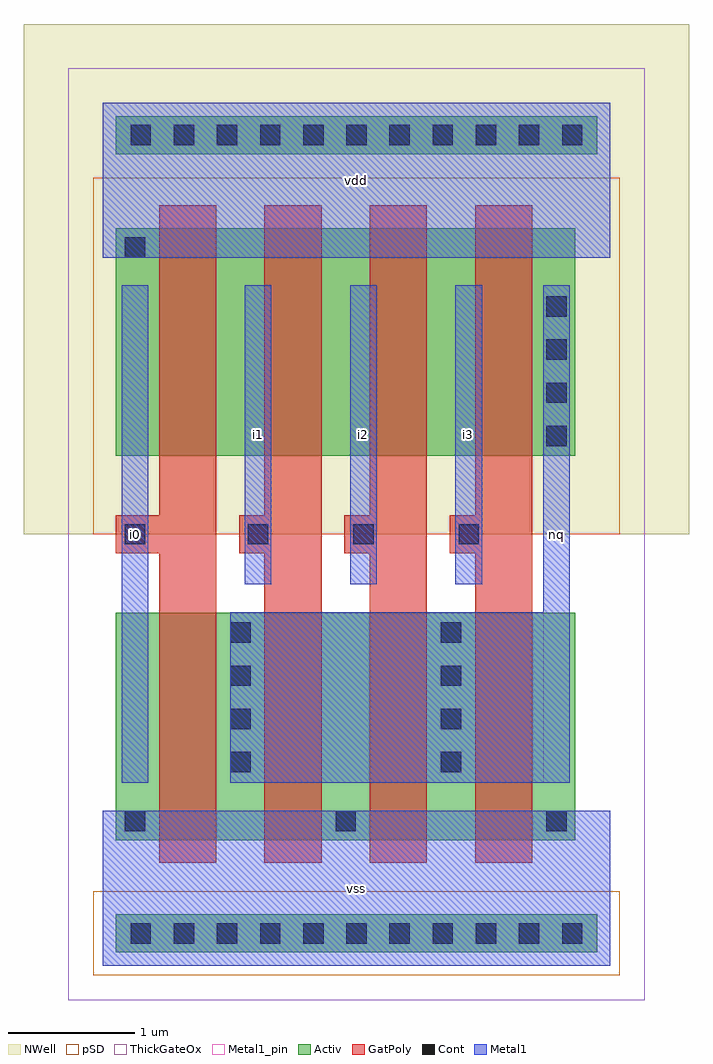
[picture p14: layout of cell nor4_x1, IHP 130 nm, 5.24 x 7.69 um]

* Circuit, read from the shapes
.subckt nor4_x1 i0 i1 i2 i3 nq vdd vss
XM1 nq i0 vss vss sg13_hv_nmos w=1.79u l=0.45u
XM2 vss i1 nq vss sg13_hv_nmos w=1.79u l=0.45u
XM3 nq i2 vss vss sg13_hv_nmos w=1.79u l=0.45u
XM4 vss i3 nq vss sg13_hv_nmos w=1.79u l=0.45u
XM5 n1 i0 vdd vdd sg13_hv_pmos w=1.79u l=0.45u
XM6 n2 i1 n1 vdd sg13_hv_pmos w=1.79u l=0.45u
XM7 n3 i2 n2 vdd sg13_hv_pmos w=1.79u l=0.45u
XM8 nq i3 n3 vdd sg13_hv_pmos w=1.79u l=0.45u
.ends

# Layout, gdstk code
import gdstk
lib = gdstk.Library(unit=1e-6, precision=1e-09)
def R(c, l, rs):  # rectangles x0, y0, x1, y1
    for r in rs: c.add(gdstk.rectangle(r[:2], r[2:], *l))
def A(c, l, x, y, w, h, nx, ny, dx, dy):  # array of equal rectangles
    R(c, l, [(x+i*dx, y+j*dy, x+i*dx+w, y+j*dy+h) for i in range(nx) for j in range(ny)])
def P(c, l, *ps):  # polygons
    for p in ps: c.add(gdstk.Polygon(p, *l))
Activ = (1, 0)
GatPoly = (5, 0)
Cont = (6, 0)
Metal1 = (8, 0)
Metal1_pin = (8, 2)
pSD = (14, 0)
NWell = (31, 0)
ThickGateOx = (44, 0)

nor4_x1 = lib.new_cell('nor4_x1')
R(nor4_x1, Activ, [(0.105,0.105,3.895,0.405), (0.105,0.99,3.725,2.78), (0.105,4.02,3.725,5.81), (0.105,6.395,3.895,6.695)])
P(nor4_x1, GatPoly, [(0.445,0.81),(0.445,3.25),(0.105,3.25),(0.105,3.55),(0.445,3.55),(0.445,5.99),(0.895,5.99),(0.895,0.81)],
  [(1.275,0.81),(1.275,3.25),(1.075,3.25),(1.075,3.55),(1.275,3.55),(1.275,5.99),(1.725,5.99),(1.725,0.81)],
  [(2.105,0.81),(2.105,3.25),(1.905,3.25),(1.905,3.55),(2.105,3.55),(2.105,5.99),(2.555,5.99),(2.555,0.81)],
  [(2.935,0.81),(2.935,3.25),(2.735,3.25),(2.735,3.55),(2.935,3.55),(2.935,5.99),(3.385,5.99),(3.385,0.81)])
A(nor4_x1, Cont, 0.22, 0.175, 0.16, 0.16, 11, 2, 0.34, 6.29)
A(nor4_x1, Cont, 0.175, 1.06, 0.16, 0.16, 3, 1, 1.66, 0)
A(nor4_x1, Cont, 1.005, 1.525, 0.16, 0.16, 1, 4, 0, 0.34)
A(nor4_x1, Cont, 2.665, 1.525, 0.16, 0.16, 1, 4, 0, 0.34)
A(nor4_x1, Cont, 1.145, 3.32, 0.16, 0.16, 3, 1, 0.83, 0)
A(nor4_x1, Cont, 3.495, 4.095, 0.16, 0.16, 1, 4, 0, 0.34)
R(nor4_x1, Cont, [(0.175,3.32,0.335,3.48), (0.175,5.58,0.335,5.74)])
A(nor4_x1, Metal1, 1.12, 3.005, 0.21, 2.355, 3, 1, 0.83, 0)
R(nor4_x1, Metal1, [(0,0,4,1.22), (0.15,1.44,0.36,5.36), (0,5.58,4,6.8)])
P(nor4_x1, Metal1, [(1.005,1.44),(1.005,2.785),(3.47,2.785),(3.47,5.36),(3.68,5.36),(3.68,1.44)])
A(nor4_x1, Metal1_pin, 1.12, 3.005, 0.21, 2.355, 3, 1, 0.83, 0)
R(nor4_x1, Metal1_pin, [(0,0,4,1.22), (0.15,1.44,0.36,5.36), (3.47,1.44,3.68,5.36), (0,5.58,4,6.8)])
R(nor4_x1, pSD, [(-0.075,-0.075,4.075,0.585), (-0.075,3.4,4.075,6.21)])
R(nor4_x1, NWell, [(-0.62,3.4,4.62,7.42)])
R(nor4_x1, ThickGateOx, [(-0.27,-0.27,4.27,7.07)])
nor4_x1.add(gdstk.Label('vss', (2,0.61), layer=8, texttype=2))
nor4_x1.add(gdstk.Label('vdd', (2,6.19), layer=8, texttype=2))
nor4_x1.add(gdstk.Label('nq', (3.575,3.4), layer=8, texttype=2))
nor4_x1.add(gdstk.Label('i0', (0.255,3.4), layer=8, texttype=2))
nor4_x1.add(gdstk.Label('i1', (1.225,4.183), layer=8, texttype=2))
nor4_x1.add(gdstk.Label('i2', (2.055,4.183), layer=8, texttype=2))
nor4_x1.add(gdstk.Label('i3', (2.885,4.183), layer=8, texttype=2))

lib.write_gds('nor4_x1.gds')
